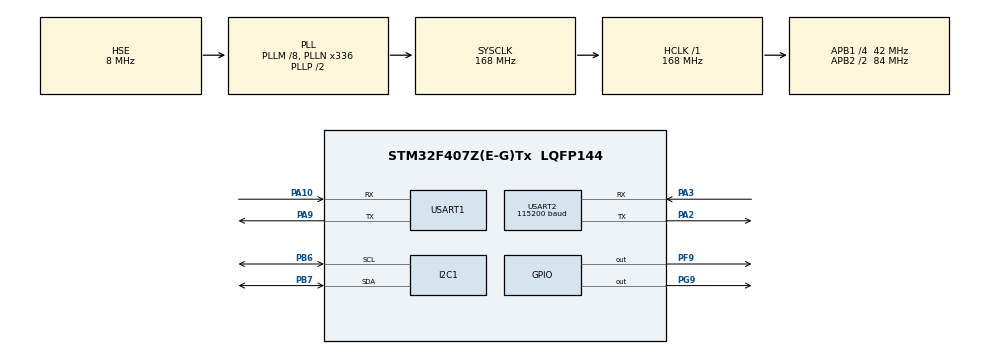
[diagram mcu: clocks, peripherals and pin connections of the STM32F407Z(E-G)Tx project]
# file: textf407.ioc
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Dma.Request0=USART2_RX
Dma.USART2_RX.0.Direction=DMA_PERIPH_TO_MEMORY
Dma.USART2_RX.0.FIFOMode=DMA_FIFOMODE_DISABLE
Dma.USART2_RX.0.Instance=DMA1_Stream5
Dma.USART2_RX.0.MemDataAlignment=DMA_MDATAALIGN_BYTE
Dma.USART2_RX.0.MemInc=DMA_MINC_ENABLE
Dma.USART2_RX.0.Mode=DMA_NORMAL
Dma.USART2_RX.0.PeriphDataAlignment=DMA_PDATAALIGN_BYTE
Dma.USART2_RX.0.PeriphInc=DMA_PINC_DISABLE
Dma.USART2_RX.0.Priority=DMA_PRIORITY_LOW
FREERTOS.Mutexes01=myI2CMutex,Dynamic,NULL,Available
FREERTOS.Tasks01=SensorTask,1,1024,StartSensorTask,Default,NULL,Dynamic,NULL,NULL;DisplayTask,-2,512,StartDisplayTask,Default,NULL,Dynamic,NULL,NULL;CommTask,0,512,StartCommTask,Default,NULL,Dynamic,NULL,NULL
FREERTOS.configTOTAL_HEAP_SIZE=20480
I2C1.I2C_Mode=I2C_Fast
Mcu.Family=STM32F4
Mcu.Name=STM32F407Z(E-G)Tx
Mcu.Package=LQFP144
NVIC.DMA1_Stream5_IRQn=true\:5\:0\:false\:false\:true\:true\:false\:true\:true
NVIC.PriorityGroup=NVIC_PRIORITYGROUP_4
NVIC.TIM6_DAC_IRQn=true\:15\:0\:false\:false\:true\:false\:false\:true\:true
NVIC.TimeBase=TIM6_DAC_IRQn
NVIC.TimeBaseIP=TIM6
NVIC.USART1_IRQn=true\:5\:0\:false\:false\:true\:true\:true\:true\:true
NVIC.USART2_IRQn=true\:5\:0\:false\:false\:true\:true\:true\:true\:true
PA10.Mode=Asynchronous
PA10.Signal=USART1_RX
PA13.Mode=Serial_Wire
PA13.Signal=SYS_JTMS-SWDIO
PA14.Mode=Serial_Wire
PA14.Signal=SYS_JTCK-SWCLK
PA2.Mode=Asynchronous
PA2.Signal=USART2_TX
PA3.Mode=Asynchronous
PA3.Signal=USART2_RX
PA9.Mode=Asynchronous
PA9.Signal=USART1_TX
PB6.Mode=I2C
PB6.Signal=I2C1_SCL
PB7.Mode=I2C
PB7.Signal=I2C1_SDA
PF9.GPIO_ModeDefaultOutputPP=GPIO_MODE_OUTPUT_PP
PF9.GPIO_PuPd=GPIO_NOPULL
PF9.Signal=GPIO_Output
PG9.GPIO_ModeDefaultOutputPP=GPIO_MODE_OUTPUT_PP
PG9.GPIO_PuPd=GPIO_PULLUP
PG9.GPIO_Speed=GPIO_SPEED_FREQ_HIGH
PG9.Signal=GPIO_Output
PH0-OSC_IN.Mode=HSE-External-Oscillator
PH0-OSC_IN.Signal=RCC_OSC_IN
PH1-OSC_OUT.Mode=HSE-External-Oscillator
PH1-OSC_OUT.Signal=RCC_OSC_OUT
ProjectManager.HeapSize=0x200
ProjectManager.StackSize=0x400
ProjectManager.TargetToolchain=MDK-ARM V5.32
RCC.48MHZClocksFreq_Value=84000000
RCC.AHBFreq_Value=168000000
RCC.APB1CLKDivider=RCC_HCLK_DIV4
RCC.APB1Freq_Value=42000000
RCC.APB1TimFreq_Value=84000000
RCC.APB2CLKDivider=RCC_HCLK_DIV2
RCC.APB2Freq_Value=84000000
RCC.APB2TimFreq_Value=168000000
RCC.CortexFreq_Value=168000000
RCC.HCLKFreq_Value=168000000
RCC.HSE_VALUE=8000000
RCC.HSI_VALUE=16000000
RCC.LSE_VALUE=32768
RCC.PLLM=8
RCC.PLLN=336
RCC.PLLSourceVirtual=RCC_PLLSOURCE_HSE
RCC.SYSCLKFreq_VALUE=168000000
RCC.SYSCLKSource=RCC_SYSCLKSOURCE_PLLCLK
RCC.VCOOutputFreq_Value=336000000
USART1.VirtualMode=VM_ASYNC
USART2.BaudRate=115200
USART2.VirtualMode=VM_ASYNC
VP_FREERTOS_VS_CMSIS_V1.Mode=CMSIS_V1
VP_SYS_VS_tim6.Mode=TIM6
board=custom

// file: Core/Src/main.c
/* USER CODE BEGIN Header */
/**
  ******************************************************************************
  * @file           : main.c
  * @brief          : Main program body (Refactored for ESP32 OTA)
  ******************************************************************************
  * @attention
  *
  * Copyright (c) 2026 STMicroelectronics.
  * All rights reserved.
  *
  * This software is licensed under terms that can be found in the LICENSE file
  * in the root directory of this software component.
  * If no LICENSE file comes with this software, it is provided AS-IS.
  *
  ******************************************************************************
  */
/* USER CODE END Header */
#include "main.h"
#include "cmsis_os.h"
#include "dma.h"
#include "i2c.h"
#include "usart.h"
#include "gpio.h"

/* USER CODE BEGIN Includes */
#include <stdio.h>
#include <string.h>
#include "SendMessage.h"
#include "dht11.h"
#include "BH1750.h"
#include "oled.h"
#include "stmflash.h"
#include "ota.h"
/* USER CODE END Includes */

/* USER CODE BEGIN PV */
// --- 全局共享数据区 ---
// 加 volatile 防止编译器过度优化
volatile DHT11_Data_t g_SensorData = {0};
volatile float g_LightLux = 0.0f;

// 引入 CubeMX 生成的互斥锁句柄
extern osMutexId myI2CMutexHandle;

/* USER CODE END PV */

void SystemClock_Config(void);
void MX_FREERTOS_Init(void);

int main(void)
{

  /* USER CODE BEGIN 1 */
	// 向量表重定向：必须与链接脚本中的 Flash 起始地址一致
  // Bootloader 位于 0x08000000，APP 位于 0x08010000
	SCB->VTOR = 0x08010000;

  /* USER CODE END 1 */

  /* MCU Configuration--------------------------------------------------------*/

  /* Reset of all peripherals, Initializes the Flash interface and the Systick. */
  HAL_Init();

  /* Configure the system clock */
  SystemClock_Config();

  /* USER CODE BEGIN SysInit */
	__enable_irq(); // 开启全局中断
  /* USER CODE END SysInit */

  /* Initialize all configured peripherals */
  MX_GPIO_Init();
  MX_DMA_Init();
  MX_USART1_UART_Init();
  MX_I2C1_Init();
  MX_USART2_UART_Init();
  /* USER CODE BEGIN 2 */
	SendMessage_Init();

	// 初始化传感器
	DHT11_Init();
	BH1750_Init();

	// 初始化屏幕
	OLED_Init();
  OLED_Clear();
  OLED_ShowString(0, 0, "System Init...", 16, 1);
  OLED_Refresh();

	// 打印启动日志
	SendMessage_Printf("App Version 2.0 Started.\r\n");
  /* USER CODE END 2 */

  /* Call init function for freertos objects (in cmsis_os2.c) */
  MX_FREERTOS_Init();

  /* Start scheduler */
  osKernelStart();

  /* We should never get here as control is now taken by the scheduler */

  /* Infinite loop */
  while (1)
  {

  }
}

void SystemClock_Config(void)
{
  RCC_OscInitTypeDef RCC_OscInitStruct = {0};
  RCC_ClkInitTypeDef RCC_ClkInitStruct = {0};

  /** Configure the main internal regulator output voltage
  */
  __HAL_RCC_PWR_CLK_ENABLE();
  __HAL_PWR_VOLTAGESCALING_CONFIG(PWR_REGULATOR_VOLTAGE_SCALE1);

  /** Initializes the RCC Oscillators according to the specified parameters
  * in the RCC_OscInitTypeDef structure.
  */
  RCC_OscInitStruct.OscillatorType = RCC_OSCILLATORTYPE_HSE;
  RCC_OscInitStruct.HSEState = RCC_HSE_ON;
  RCC_OscInitStruct.PLL.PLLState = RCC_PLL_ON;
  RCC_OscInitStruct.PLL.PLLSource = RCC_PLLSOURCE_HSE;
  RCC_OscInitStruct.PLL.PLLM = 8;
  RCC_OscInitStruct.PLL.PLLN = 336;
  RCC_OscInitStruct.PLL.PLLP = RCC_PLLP_DIV2;
  RCC_OscInitStruct.PLL.PLLQ = 4;
  if (HAL_RCC_OscConfig(&RCC_OscInitStruct) != HAL_OK)
  {
    Error_Handler();
  }

  /** Initializes the CPU, AHB and APB buses clocks
  */
  RCC_ClkInitStruct.ClockType = RCC_CLOCKTYPE_HCLK|RCC_CLOCKTYPE_SYSCLK
                              |RCC_CLOCKTYPE_PCLK1|RCC_CLOCKTYPE_PCLK2;
  RCC_ClkInitStruct.SYSCLKSource = RCC_SYSCLKSOURCE_PLLCLK;
  RCC_ClkInitStruct.AHBCLKDivider = RCC_SYSCLK_DIV1;
  RCC_ClkInitStruct.APB1CLKDivider = RCC_HCLK_DIV4;
  RCC_ClkInitStruct.APB2CLKDivider = RCC_HCLK_DIV2;

  if (HAL_RCC_ClockConfig(&RCC_ClkInitStruct, FLASH_LATENCY_5) != HAL_OK)
  {
    Error_Handler();
  }
}

void HAL_TIM_PeriodElapsedCallback(TIM_HandleTypeDef *htim)
{
  if (htim->Instance == TIM6)
  {
    HAL_IncTick();
  }
}

void Error_Handler(void)
{
  __disable_irq();
  while (1)
  {
  }
}

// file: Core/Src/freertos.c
/* USER CODE BEGIN Header */
/**
  ******************************************************************************
  * File Name          : freertos.c
  * Description        : DMA 版本的 OTA 逻辑 - 专治数据溢出
  ******************************************************************************
  */
/* USER CODE END Header */

#include "FreeRTOS.h"
#include "task.h"
#include "main.h"
#include "cmsis_os.h"

/* USER CODE BEGIN Includes */
#include "ota.h"
#include "dht11.h"
#include "BH1750.h"
#include "oled.h"
#include "SendMessage.h"
#include <stdio.h>
#include <string.h>

extern volatile DHT11_Data_t g_SensorData;
extern volatile float g_LightLux;
extern UART_HandleTypeDef huart2;
extern void OLED_Show_EnvData(DHT11_Data_t *dht, float light_lux);

// 引用自身任务句柄，用于 DMA 完成后唤醒
extern osThreadId CommTaskHandle;
/* USER CODE END Includes */

/* USER CODE BEGIN PD */
// 串口接收相关
static uint8_t rx_byte;           // 用于单字节中断接收指令
static char cmd_buf[64];          // 命令缓冲
static uint8_t cmd_idx = 0;

static uint8_t ota_rx_buf[260];   // DMA 目标缓冲区
/* USER CODE END PD */

/* USER CODE BEGIN PM */
// 辅助宏：清除串口错误标志，防止 DMA 启动失败
#define FLUSH_UART_ERRORS(__HANDLE__) do{ \
    volatile uint32_t tmpreg; \
    tmpreg = (__HANDLE__)->Instance->SR; \
    tmpreg = (__HANDLE__)->Instance->DR; \
    (void)tmpreg; \
}while(0)
/* USER CODE END PM */

osThreadId SensorTaskHandle;
osThreadId DisplayTaskHandle;
osThreadId CommTaskHandle;
osMutexId myI2CMutexHandle;

void StartSensorTask(void const * argument);
void StartDisplayTask(void const * argument);
void StartCommTask(void const * argument);
void MX_FREERTOS_Init(void);

static StaticTask_t xIdleTaskTCBBuffer;
static StackType_t xIdleStack[configMINIMAL_STACK_SIZE];
void vApplicationGetIdleTaskMemory( StaticTask_t **ppxIdleTaskTCBBuffer, StackType_t **ppxIdleTaskStackBuffer, uint32_t *pulIdleTaskStackSize ) {
  *ppxIdleTaskTCBBuffer = &xIdleTaskTCBBuffer;
  *ppxIdleTaskStackBuffer = &xIdleStack[0];
  *pulIdleTaskStackSize = configMINIMAL_STACK_SIZE;
}

void MX_FREERTOS_Init(void) {
  osMutexDef(myI2CMutex);
  myI2CMutexHandle = osMutexCreate(osMutex(myI2CMutex));

  osThreadDef(SensorTask, StartSensorTask, osPriorityAboveNormal, 0, 1024);
  SensorTaskHandle = osThreadCreate(osThread(SensorTask), NULL);

  osThreadDef(DisplayTask, StartDisplayTask, osPriorityLow, 0, 512);
  DisplayTaskHandle = osThreadCreate(osThread(DisplayTask), NULL);

  osThreadDef(CommTask, StartCommTask, osPriorityNormal, 0, 2048);
  CommTaskHandle = osThreadCreate(osThread(CommTask), NULL);
}

// 传感器任务
void StartSensorTask(void const * argument) {
    DHT11_Data_t temp_dht;
    float temp_lux;
    for(;;) {
        osMutexWait(myI2CMutexHandle, osWaitForever);
        temp_lux = BH1750_ReadLux();
        osMutexRelease(myI2CMutexHandle);
        taskENTER_CRITICAL();
        uint8_t res = DHT11_Read_Data(&temp_dht);
        taskEXIT_CRITICAL();
        if(res == 0) g_SensorData = temp_dht;
        g_LightLux = temp_lux;
        osDelay(2000);
    }
}

// 显示任务
void StartDisplayTask(void const * argument) {
    for(;;) {
        osMutexWait(myI2CMutexHandle, osWaitForever);
        OLED_Show_EnvData((DHT11_Data_t*)&g_SensorData, g_LightLux);
        osMutexRelease(myI2CMutexHandle);
        osDelay(500);
    }
}

/* USER CODE BEGIN Header_StartCommTask */
/**
* @brief DMA 版 CommTask
*/
/* USER CODE END Header_StartCommTask */
#define FLUSH_UART_ERRORS(__HANDLE__) do{ \
    volatile uint32_t tmpreg; \
    tmpreg = (__HANDLE__)->Instance->SR; \
    tmpreg = (__HANDLE__)->Instance->DR; \
    (void)tmpreg; \
}while(0)

void StartCommTask(void const * argument)
{
  // 1. 启动命令侦听
  HAL_UART_Receive_IT(&huart2, &rx_byte, 1);

  // 调试：打印任务启动
  SendMessage_Printf("CommTask Started. DMA Mode.\r\n");

  uint32_t last_sensor_time = 0;

	OTA_Init();

  for(;;)
  {
    switch(g_ota.state)
		{
				// --------------------------------------------------
          // 状态1：空闲态 (平常运行模式，上传传感器数据)
          // --------------------------------------------------
          case OTA_STATE_IDLE:
              if (HAL_GetTick() - last_sensor_time >= 5000)
              {
                  last_sensor_time = HAL_GetTick();
                  SendMessage_Printf2("%d.%d,%d.%d,%d,%.1f\n",
                      g_SensorData.temperature, g_SensorData.temp_dec,
                      g_SensorData.humidity, g_SensorData.humi_dec,
                      1, g_LightLux);
              }
              osDelay(50); // 空闲时让出 CPU
              break;

          // --------------------------------------------------
          // 状态2：初始化态 (挂起其他任务并擦除 Flash)
          // --------------------------------------------------
          case OTA_STATE_INIT_ERASE:
              // 挂起传感器和显示任务，防止擦除时被中断打断
              osThreadSuspend(SensorTaskHandle);
              osThreadSuspend(DisplayTaskHandle);

              OLED_Clear();
              OLED_ShowString(0, 0, "OTA Start...", 16, 1);
              OLED_ShowString(0, 2, "Erasing...", 16, 1);
              OLED_Refresh();

              SendMessage_Printf("Erasing Flash, Size: %lu\r\n", g_ota.fw_total_size);

              // 擦除 Flash
              if (!OTA_Erase_Download_Area(g_ota.fw_total_size)) {
                   SendMessage_Printf("Erase Failed!\r\n");
                   g_ota.state = OTA_STATE_ERROR;
              } else {
                   // 擦除成功，切换到接收数据状态，并向 ESP32 发送第一条 ACK
                   FLUSH_UART_ERRORS(&huart2);
                   OTA_Send_ACK();
                   g_ota.state = OTA_STATE_WAIT_DATA;
              }
              break;

          // --------------------------------------------------
          // 状态3：接收与校验态 (基于 DMA 接收，收到后校验写入)
          // --------------------------------------------------
          case OTA_STATE_WAIT_DATA:
          {
              // 计算这一包需要接收的真实载荷长度
              uint32_t remain = g_ota.fw_total_size - g_ota.fw_received_size;
              uint16_t payload_len = (remain > OTA_PAYLOAD_MAX_SIZE) ? OTA_PAYLOAD_MAX_SIZE : remain;

              // 实际 DMA 配置接收长度 = 载荷长度 + 2字节CRC
              uint16_t dma_len = payload_len + 2;

              // 清理上次可能遗留的溢出错误，并启动 DMA
              FLUSH_UART_ERRORS(&huart2);
              if (HAL_UART_Receive_DMA(&huart2, ota_rx_buf, dma_len) != HAL_OK)
              {
                  HAL_UART_AbortReceive(&huart2);
                  FLUSH_UART_ERRORS(&huart2);
                  HAL_UART_Receive_DMA(&huart2, ota_rx_buf, dma_len);
              }

              // 阻塞任务，等待串口 DMA 接收完成中断的通知（超时5000ms）
              if (ulTaskNotifyTake(pdTRUE, pdMS_TO_TICKS(5000)) == pdTRUE)
              {
                  // 1. 收到数据，计算前 payload_len 个字节的 CRC16
                  uint16_t calc_crc = CRC16_Calculate(ota_rx_buf, payload_len);
                  // 2. 提取数据包尾部的 CRC16 (ESP32小端模式发出)
                  uint16_t recv_crc = ota_rx_buf[payload_len] | (ota_rx_buf[payload_len+1] << 8);

                  if (calc_crc == recv_crc)
                  {
                      // 校验通过：写入 Flash
                      OTA_Write_Flash(g_ota.flash_write_addr, ota_rx_buf, payload_len);

                      // 推进数据指针
                      g_ota.flash_write_addr += payload_len;
                      g_ota.fw_received_size += payload_len;

                      // 更新进度 UI
                      if (g_ota.fw_received_size % 1024 == 0 || g_ota.fw_received_size == g_ota.fw_total_size) {
                           char s[16];
                           sprintf(s, "%lu%%", g_ota.fw_received_size * 100 / g_ota.fw_total_size);
                           OLED_ShowString(0, 4, s, 16, 1);
                           OLED_Refresh();
                      }

                      // 判断是否收满
                      if (g_ota.fw_received_size >= g_ota.fw_total_size) {
                          g_ota.state = OTA_STATE_FINISH;
                      } else {
                          OTA_Send_ACK(); // 请求 ESP32 发送下一包
                      }
                  }
                  else
                  {
                      // 校验失败：数据出错，丢弃该包，发 NACK 请求重发
                      SendMessage_Printf("CRC Err: Calc %04X, Recv %04X\r\n", calc_crc, recv_crc);
                      HAL_UART_AbortReceive(&huart2);
                      OTA_Send_NACK();
                  }
              }
              else
              {
                  // 超时 5 秒没收到数据，认定 ESP32 卡死或断连，尝试发送 NACK 重启传输
                  SendMessage_Printf("TIMEOUT! Recv: %lu\r\n", g_ota.fw_received_size);
                  HAL_UART_AbortReceive(&huart2);
                  OTA_Send_NACK();
              }
              break;
          }

          // --------------------------------------------------
          // 状态4：完成态 (写标志位并重启)
          // --------------------------------------------------
          case OTA_STATE_FINISH:
              OLED_ShowString(0, 6, "Success! Reset", 16, 1);
              OLED_Refresh();

              OTA_Send_ACK(); // 最后一包确认
              HAL_Delay(500);

              // 写入 Bootloader Flag 并重启芯片
              OTA_Set_Flag_And_Reset(g_ota.fw_total_size);
              break;

          // --------------------------------------------------
          // 状态5：错误态 (无法挽回的异常)
          // --------------------------------------------------
          case OTA_STATE_ERROR:
              OLED_ShowString(0, 6, "OTA Error!  ", 16, 1);
              OLED_Refresh();
              HAL_Delay(2000);
              HAL_NVIC_SystemReset();
              break;
				}
		}
}

/* USER CODE BEGIN Application */

// 串口接收完成回调 (DMA 和 IT 都会调用这个)
void HAL_UART_RxCpltCallback(UART_HandleTypeDef *huart)
{
    if (huart->Instance != USART2) return;

    if (g_ota.state == OTA_STATE_IDLE)
    {
        // 模式1: Idle 下用单字节中断收命令
        if (cmd_idx < sizeof(cmd_buf) - 1) {
            cmd_buf[cmd_idx++] = rx_byte;
            cmd_buf[cmd_idx] = 0;
        } else {
            cmd_idx = 0; // 溢出保护
        }

        // 只有收到换行符才开始解析
        if (rx_byte == '\n')
        {
            char* pStart = strstr(cmd_buf, "CMD_OTA_START:");
            if (pStart != NULL) {
                uint32_t len = 0;
                // 解析数字
                if (sscanf(pStart + 14, "%lu", &len) == 1 && len > 0) {

                    // 【更新全局结构体状态】
                    g_ota.fw_total_size = len;
                    g_ota.state = OTA_STATE_INIT_ERASE;

                    // 清空缓冲
                    cmd_idx = 0;
                    memset(cmd_buf, 0, sizeof(cmd_buf));

                    // 匹配成功直接返回，不再开启中断 (交由后续的 WAIT_DATA DMA 接管)
                    return;
                }
            }
            // 如果是换行但没匹配到命令，清空缓冲区继续
            cmd_idx = 0;
            memset(cmd_buf, 0, sizeof(cmd_buf));
        }

        // 继续接收下一个字节
        HAL_UART_Receive_IT(&huart2, &rx_byte, 1);
    }
    else if (g_ota.state == OTA_STATE_WAIT_DATA)
    {
        // 模式2: 等待数据态下，DMA 收完了一整包 (256载荷+2CRC字节) 触发中断
        // 唤醒 CommTask 任务去算 CRC 和 写 Flash
        BaseType_t xHigherPriorityTaskWoken = pdFALSE;
        vTaskNotifyGiveFromISR(CommTaskHandle, &xHigherPriorityTaskWoken);
        portYIELD_FROM_ISR(xHigherPriorityTaskWoken);
    }
}
/* USER CODE END Application */
